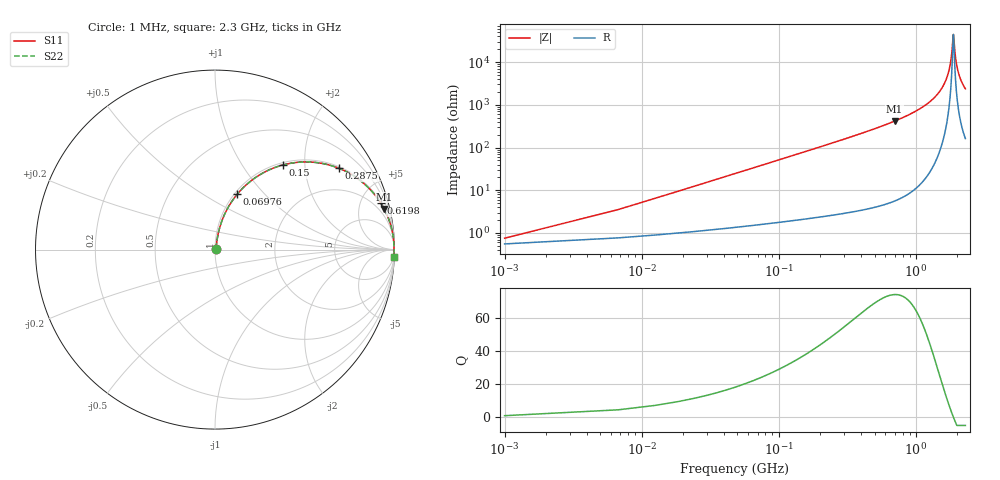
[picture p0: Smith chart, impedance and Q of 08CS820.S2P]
! Coilcraft 0805CS-820 Chip Inductor
! 11 June 2002
# MHZ S MA R 50
!Freq  MagS11  AngS11  MagS21  AngS21  MagS12  AngS12  MagS22  AngS22
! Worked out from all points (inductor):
!   403 points, 1 MHz to 2.3 GHz, reference 50 ohm
!   read as one part in series: L = 81.4 nH near 12.46 MHz
!   highest Q = 74.4 at 700.1 MHz (marker M1), where L = 94.5 nH
!   self-resonance near 1.88 GHz
!   S11 on the Smith chart (normalised r, x): 1 MHz: 1.01, +0.01; 69.76 MHz: 1.03, +0.71; 150 MHz: 1.04, +1.54; 287.5 MHz: 1.06, +3.01; 619.8 MHz: 1.10, +7.11; 2.3 GHz: 4, -47
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1  0.007498 42.4  0.9945 -0.3  0.9945 -0.3  0.007498 42.4
18.19  0.09226 78.7  0.986 -5.3  0.986 -5.3  0.09226 78.7
23.92  0.1206 78.1  0.9822 -6.9  0.9822 -6.9  0.1206 78.1
41.11  0.2037 74.8  0.9667 -11.7  0.9667 -11.7  0.2037 74.8
69.76  0.3322 68.1  0.929 -19.4  0.929 -19.4  0.3322 68.1
149.98  0.6034 51.4  0.7813 -37.1  0.7813 -37.1  0.6034 51.4
287.5  0.826 33.3  0.5485 -55.7  0.5485 -55.7  0.826 33.3
384.91  0.8935 25.8  0.4348 -63.3  0.4348 -63.3  0.8935 25.8
619.84  0.9593 15.6  0.2697 -73.6  0.2697 -73.6  0.9593 15.6
700.06  0.9693 13.5  0.2332 -75.7  0.2332 -75.7  0.9693 13.5
768.82  0.9756 11.9  0.2066 -77.3  0.2066 -77.3  0.9756 11.9
1152.73  0.9925 6.0  0.1051 -82.9  0.1051 -82.9  0.9925 6.0
1536.64  0.9972 2.4  0.04221 -85.0  0.04221 -85.0  0.9972 2.4
1668.43  0.9977 1.4  0.02497 -83.9  0.02497 -83.9  0.9977 1.4
1760.11  0.9978 0.8  0.01391 -80.5  0.01391 -80.5  0.9978 0.8
1817.41  0.9978 0.4  0.007422 -72.6  0.007422 -72.6  0.9978 0.4
1874.71  0.9978 0.0  0.002332 -16.3  0.002332 -16.3  0.9978 0.0
1891.9  0.9977 -0.1  0.002574 28.6  0.002574 28.6  0.9977 -0.1
1920.55  0.9977 -0.2  0.00492 62.0  0.00492 62.0  0.9977 -0.2
1972.12  0.9976 -0.6  0.01013 75.9  0.01013 75.9  0.9976 -0.6
2046.61  0.9974 -1.0  0.01772 81.0  0.01772 81.0  0.9974 -1.0
2300  0.9962 -2.4  0.04206 83.7  0.04206 83.7  0.9962 -2.4
